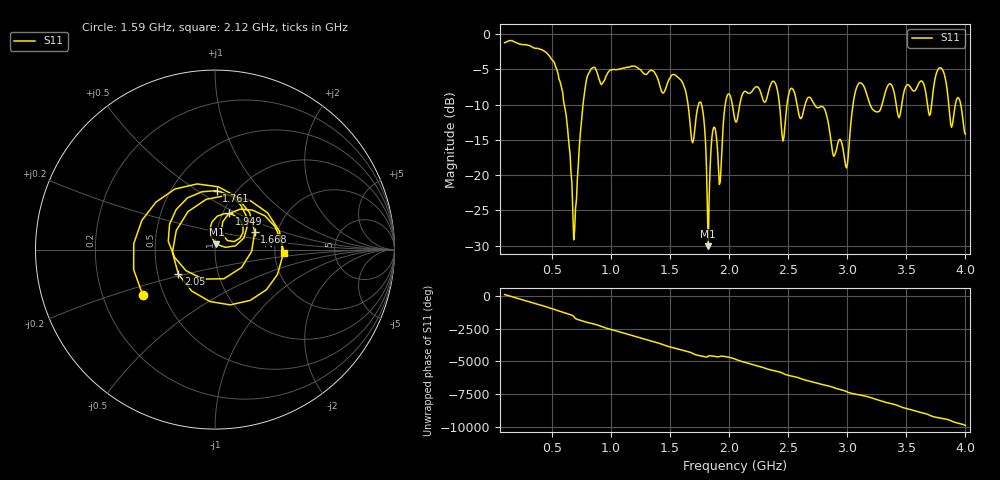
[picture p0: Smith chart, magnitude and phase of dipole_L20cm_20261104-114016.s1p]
! Dipole length 20 cm, measured 20261104-114016
# GHZ S RI R 50.000000000000
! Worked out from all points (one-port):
!   501 points, 100 MHz to 4 GHz, reference 50 ohm
!   lowest |S11| = -30.1 dB at 1.824 GHz (marker M1), VSWR 1.06, Z = 50.7 + j3.08 ohm
!   |S11| at or under -10 dB: 604.9 MHz to 763.6 MHz (158.7 MHz wide, 23.2 % of centre); 1.767 GHz to 1.967 GHz (199.9 MHz wide, 10.7 % of centre); 2.723 GHz to 3.049 GHz (325.6 MHz wide, 11.3 % of centre)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
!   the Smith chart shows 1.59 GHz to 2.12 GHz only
!   S11 on the Smith chart (normalised r, x): 1.59 GHz: 0.38, -0.25; 1.668 GHz: 1.53, +0.32; 1.761 GHz: 0.82, +0.60; 1.949 GHz: 1.07, +0.45; 2.05 GHz: 0.64, -0.19; 2.12 GHz: 2.24, -0.10
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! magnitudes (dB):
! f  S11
! 100 MHz  -1.2
! 591.4 MHz  -8.2
! 692.8 MHz  -27.7
! 802 MHz  -5.9
! 1.075 GHz  -4.9
! 1.566 GHz  -6.1
! 1.59 GHz  -6.5
! 1.668 GHz  -12.3
! 1.761 GHz  -9.7
! 1.824 GHz  -30.1
! 1.863 GHz  -13.6
! 1.917 GHz  -21.3
! 1.949 GHz  -13.3
! 1.988 GHz  -8.6
! 2.05 GHz  -12.2
! 2.058 GHz  -12.5
! 2.12 GHz  -8.3
! 2.385 GHz  -6.8
! 2.456 GHz  -15.2
! 2.541 GHz  -7.8
! 2.986 GHz  -18.6
! 3.025 GHz  -13.7
! 3.103 GHz  -6.9
! 3.438 GHz  -11.8
! 3.516 GHz  -7.2
! 3.696 GHz  -11.5
! 3.797 GHz  -4.8
! 4 GHz  -14.2
